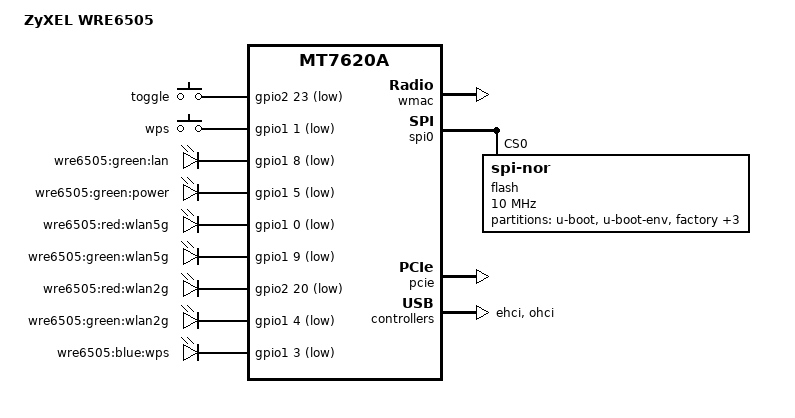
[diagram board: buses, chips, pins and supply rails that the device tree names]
/dts-v1/;

#include "mt7620a.dtsi"
//#include "rt2880.dtsi"

#include <dt-bindings/gpio/gpio.h>
#include <dt-bindings/input/input.h>

/ {
	compatible = "zyxel,wre6505", "ralink,mt7620a-soc";
	model = "ZyXEL WRE6505";
	
        aliases {
                led-boot = &led_power_green;
                led-failsafe = &led_power_green;
                led-running = &led_power_green;
                led-upgrade = &led_power_green;
        };

        chosen { //change as appropriate:
//              bootargs = "console=ttyS0,57600n8 root=/dev/mtdblock3 rootfstype=squashfs,jffs2";
                bootargs = "console=ttyS0,57600n8 root=/dev/ram0 rootfstype=ramfs";
        };

        keys {
                compatible = "gpio-keys-polled";
                poll-interval = <20>;

                //confirmed: gpio 63
                /* switch to 'right' gpio 63 = 1, 
                    switch to 'left' gpio 63 = 0 */
                /* i.e. Active when switch is set to "Access Point" */
                toggle {
                        label = "toggle";
                        gpios = <&gpio2 23 GPIO_ACTIVE_LOW>;
                        linux,code = <BTN_0>;
                        debounce-interval = <60>;
                };

        		//confirmed: gpio 25
                wps {
                        label = "wps";
                        gpios = <&gpio1 1 GPIO_ACTIVE_LOW>;
                        debounce-interval = <60>;
                        linux,code = <KEY_WPS_BUTTON>;
                };
        };

        leds {
		compatible = "gpio-leds";
		
                lan { //gpio 32
                        label = "wre6505:green:lan";
                        gpios = <&gpio1 8 GPIO_ACTIVE_LOW>;
                };
		
                led_power_green: power { //gpio 29
                        label = "wre6505:green:power";
                        gpios = <&gpio1 5 GPIO_ACTIVE_LOW>;
                };
		
                wlan5g_red { //gpio 24
                        label = "wre6505:red:wlan5g";
                        gpios = <&gpio1 0 GPIO_ACTIVE_LOW>;
                };
		
                wlan5g { //gpio 33
                        label = "wre6505:green:wlan5g";
                        gpios = <&gpio1 9 GPIO_ACTIVE_LOW>;
                };

                wlan2g_red {//gpio 60
                        label = "wre6505:red:wlan2g";
                        gpios = <&gpio2 20 GPIO_ACTIVE_LOW>;
                };

                wlan2g { //gpio 28
                        label = "wre6505:green:wlan2g";
                        gpios = <&gpio1 4 GPIO_ACTIVE_LOW>;
                };

                wps { //gpio 27
                        label = "wre6505:blue:wps";
                        gpios = <&gpio1 3 GPIO_ACTIVE_LOW>;
                };
	};

        pinctrl {
                state_default: pinctrl0 {
                /* i2c      inhibits gpio 01-02 */
                /* spi      inhibits gpio 03-06 */
                /* uartf    inhibits gpio 07-14 */
                /* uartl    inhibits gpio 15-16 */
                /* wdt_rst  inhibits gpio 17    */
                /* pa_pe    inhibits gpio 18-21 */
                /* mdio     inhibits gpio 22-23 */
                /* rgmii1   inhibits gpio 24-35 i.e. gpio 1:0-11 most LEDs */
                /* rgmii2   inhibits gpio 60-71 i.e. gpio 2:20 - wlan2G RED and 2:23 - toggle */
                /* if you forget to 'mux' in a group here (i.e. add to 'group' list below) 
                    needed by a gpio pin, the LEDs on those GPIO pins won't work. */
                        //uartf_gpio_pins;
                        gpio {
        				//other available groups include: "wled", "nd_sd", "ephy", "spi refclk"
                                ralink,group = "i2c", "uartf", "rgmii1", "rgmii2";
                                ralink,function = "gpio";
                        };
                };
        };
};

// uart(lite) means only GPO#15 (not a typo) and GPIO#16 are used up.
&uartlite {
        ralink,group = "uartlite";
        ralink,function = "uartlite";
};


&wmac {
	ralink,mtd-eeprom = <&factory 0x0>;
        /*
[    7.649424] rt2800_wmac 10180000.wmac: loaded eeprom from mtd device "factory"
[    7.663899] ieee80211 phy0: rt2x00_set_rt: Info - RT chipset 6352, rev 0500 detected
[    7.679356] ieee80211 phy0: rt2x00_set_rf: Info - RF chipset 7620 detected
	*/
};

&spi0 {
	/*
	consumes GPIO 3-6 and 37-39
	*/
        status = "okay";

        flash@0 {
                compatible = "jedec,spi-nor";
                reg = <0>;
                spi-max-frequency = <10000000>;

                partitions {
                        compatible = "fixed-partitions";
                        #address-cells = <1>;
                        #size-cells = <1>;

                        partition@0 {
                                label = "u-boot";
                                reg = <0x0 0x30000>;
                                read-only;
                        };

                        partition@30000 {
                                label = "u-boot-env";
                                reg = <0x30000 0x10000>;
                        };

                        factory: partition@40000 {
                                label = "factory";
                                reg = <0x40000 0x10000>;
                                read-only;
                        };

                        /* if you don't care about NVRAM stuff
                                 make firmware: reg = <0x50000 0x7b0000>;
                        */
                        firmware: partition@50000 {
                                compatible = "denx,uimage";
                                label = "firmware";
                                reg = <0x50000 0x790000>;
                        };

                        /* original firmware goes something like this:
                        kernel: partition@50000 {
                                compatible = "denx,uimage";
                                label = "kernel";
                                reg = <0x50000 0x120000>;
                        };

                        rootfs: partition@170000 {
                                label = "rootfs";
                                reg = <0x170000 0x690000>;
                                read-only;
                        };
                        */

                        /* these NVRAM partitions contain config for ZyXEL OEM F/Ware
                           They contain, e.g.: PIN, SSID, Wifi pass, device serial #
                           If you really need the extra 128K of storage, reap these out,
                           and grow the firmware partition above to e.g. 0x7b0000
                         */
                        edienvram: partition@7e0000 {
                                label = "EDIENVRAM";
                                reg = <0x7e0000 0x10000>;
                                read-only;
                        };

                        edinvram: partition@7f0000 {
                                label = "EDINVRAM";
                                reg = <0x7f0000 0x10000>;
                                read-only;
                        };
                };
        };
};


//enables gpio pins 0-23
&gpio0 {
        status = "okay";
};

//enables gpio pins 24-39
&gpio1 {
        status = "okay";
};

//enables gpio pins 40-72
&gpio2 {
        status = "okay";
};


//enables gpio pin 73
&gpio3 {
        status = "okay";
};


&pcie {
        status = "okay";
};


&ethernet {
        mtd-mac-address = <&factory 0x4>;
        mediatek,portmap = "llllw";
};

&pcie0 {
        wifi@0,0 {
                reg = <0x0000 0 0 0 0>;
                mediatek,mtd-eeprom = <&factory 0x8000>;
                ieee80211-freq-limit = <5000000 6000000>;
                //mtd-mac-address-increment = <(-1)>;
        };
};

/* not essential - but useful
&usbphy {
	status = "okay";
};
*/

&ehci {
	status = "okay";
};

&ohci {
	status = "okay";
};

